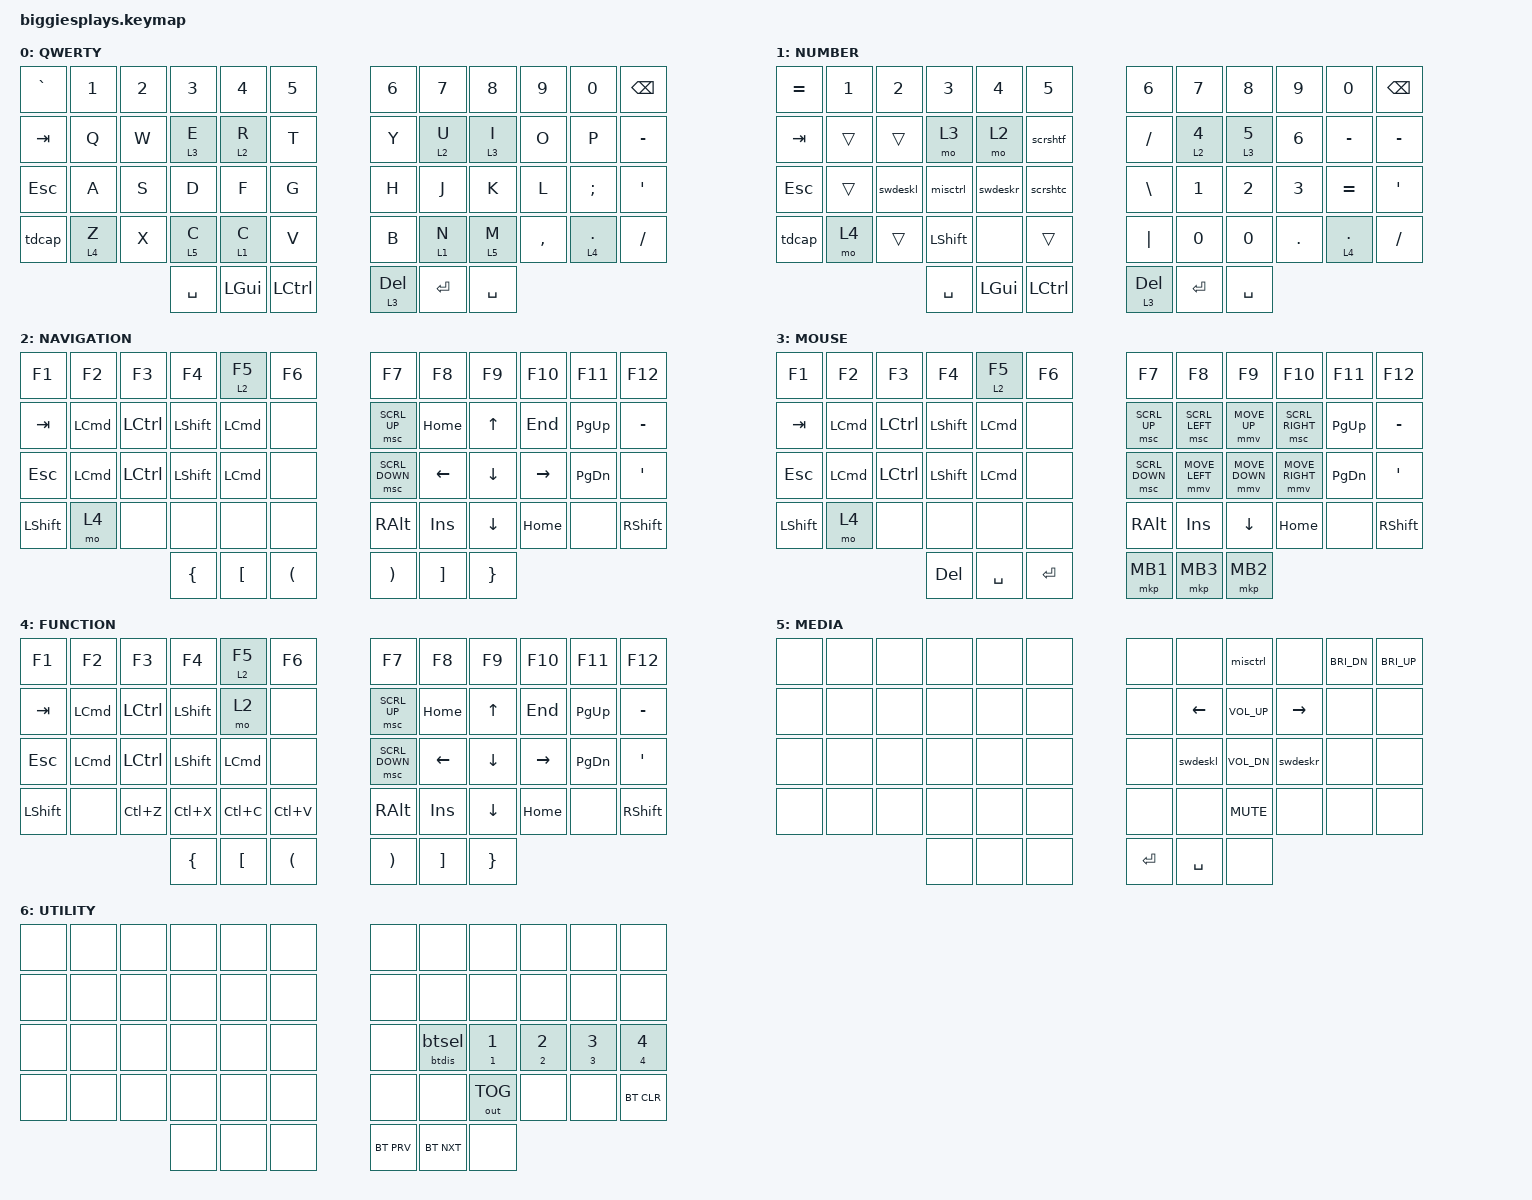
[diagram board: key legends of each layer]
// Copyright (c) 2022 The ZMK Contributors
// SPDX-License-Identifier: MIT

#define ZMK_POINTING_DEFAULT_MOVE_VAL 1000  // default: 600
#define ZMK_POINTING_DEFAULT_SCRL_VAL 10    // default: 10

#include <behaviors.dtsi>
#include <dt-bindings/zmk/keys.h>
#include <dt-bindings/zmk/bt.h>
#include <dt-bindings/zmk/outputs.h>
#include <dt-bindings/zmk/pointing.h>

/ {
    behaviors {
        ht: hold_tap {
            compatible = "zmk,behavior-hold-tap";
            #binding-cells = <2>;
            flavor = "tap-preferred";
            tapping-term-ms = <200>;
            quick-tap-ms = <120>;
            require-prior-idle-ms = <100>;
            bindings = <&kp>, <&kp>;
        };
        btht: bluetooth_hold_tap {
            compatible = "zmk,behavior-hold-tap";
            #binding-cells = <2>;
            flavor = "tap-preferred";
            tapping-term-ms = <2000>;
            require-prior-idle-ms = <100>;
            bindings = <&btdis>, <&btsel>;
        };
        tdcap: tdcap {
            compatible = "zmk,behavior-tap-dance";
            display-name = "TD Shift/CapsWord";
            #binding-cells = <0>;
            bindings = <&kp LEFT_SHIFT>, <&caps_word>;
        };
        tdshto0: tdshto0 {
            compatible = "zmk,behavior-tap-dance";
            display-name = "TD Shift/L0";
            #binding-cells = <0>;
            bindings = <&kp LEFT_SHIFT>, <&to 0>;
        };
        tdeqto0: tdeqto0 {
            compatible = "zmk,behavior-tap-dance";
            display-name = "TD =/L0";
            #binding-cells = <0>;
            bindings = <&kp EQUAL>, <&to 0>;
        };
    };
    macros {
        btsel: bluetooth_select {
            compatible = "zmk,behavior-macro-one-param";
            #binding-cells = <1>;
            bindings
                = <&macro_param_1to2>
                , <&macro_tap &bt BT_SEL MACRO_PLACEHOLDER>
                , <&macro_tap &out OUT_BLE>
                ;
        };
        btdis: bluetooth_disconnect {
            compatible = "zmk,behavior-macro-one-param";
            #binding-cells = <1>;
            bindings
                = <&macro_param_1to2>
                , <&macro_tap &bt BT_DISC MACRO_PLACEHOLDER>
                ;
        };
        swdeskl: swap_desktop_left {
            compatible = "zmk,behavior-macro";
            #binding-cells = <0>;
            bindings
                = <&macro_press &kp LCTRL>
                , <&macro_tap &kp LEFT>
                , <&macro_release &kp LCTRL>
                ;
        };
        swdeskr: swap_desktop_right {
            compatible = "zmk,behavior-macro";
            #binding-cells = <0>;
            bindings
                = <&macro_press &kp LCTRL>
                , <&macro_tap &kp RIGHT>
                , <&macro_release &kp LCTRL>
                ;
        };
        misctrl: mission_control {
            compatible = "zmk,behavior-macro";
            #binding-cells = <0>;
            bindings
                = <&macro_press &kp LCTRL>
                , <&macro_tap &kp UP>
                , <&macro_release &kp LCTRL>
                ;
        };
        scrshtc: screenshot_selection_clipboard {
            compatible = "zmk,behavior-macro";
            #binding-cells = <0>;
            bindings
                = <&macro_press &kp LCMD>
                , <&macro_press &kp LCTRL>
                , <&macro_press &kp LSHIFT>
                , <&macro_tap &kp N4>
                , <&macro_release &kp LCMD>
                , <&macro_release &kp LCTRL>
                , <&macro_release &kp LSHIFT>
                ;
        };
        scrshtf: screenshot_selection_save {
            compatible = "zmk,behavior-macro";
            #binding-cells = <0>;
            bindings
                = <&macro_press &kp LCMD>
                , <&macro_press &kp LCTRL>
                , <&macro_press &kp LSHIFT>
                , <&macro_tap &kp N4>
                , <&macro_release &kp LCMD>
                , <&macro_release &kp LCTRL>
                , <&macro_release &kp LSHIFT>
                ;
        };
    };
    combos {
        compatible = "zmk,combos";
        combo_scrshtc {
            timeout-ms = <40>;
            // Q+W
            key-positions = <13 14>;
            bindings = <&scrshtc>;
        };
        combo_scrshtf {
            timeout-ms = <40>;
            // Q+F
            key-positions = <13 15>;
            bindings = <&scrshtf>;
        };
        combo_numlock_on {
            timeout-ms = <40>;
            // U+O (4+6)
            key-positions = <7 9>;
            // From QWERTY/NAV/MOUSE layers
            layers = <0 2 3>;
            bindings = <&to 1>;
        };
        combo_numlock_off {
            timeout-ms = <40>;
            // U+O (4+6)
            key-positions = <7 9>;
            // Only on num_layer
            layers = <1>;
            bindings = <&to 0>;
        };
        combo_navlock_on {
            timeout-ms = <40>;
            // J+L (left and right arrows)
            key-positions = <31 33>;
            // From QWERTY/NUM/MOUSE layers
            layers = <0 1 3>;
            bindings = <&to 2>;
        };
        combo_navlock_off {
            timeout-ms = <40>;
            // J+L (left and right arrows)
            key-positions = <31 33>;
            // Only on nav_layer
            layers = <2>;
            bindings = <&to 0>;
        };
        combo_mouselock_on {
            timeout-ms = <40>;
            // N+Comma
            key-positions = <43 45>;
            // From QWERTY/NUM/NAV layers
            layers = <0 1 2>;
            bindings = <&to 3>;
        };
        combo_mouselock_off {
            timeout-ms = <40>;
            // N+Comma
            key-positions = <43 45>;
            // Only on mouse_layer
            layers = <3>;
            bindings = <&to 0>;
        };
    };

    conditional_layers {
        compatible = "zmk,conditional-layers";
        tri_layer {
            if-layers = <2 4>;
            then-layer = <6>;
        };
    };

    keymap {
        compatible = "zmk,keymap";

        default_layer {
            display-name = "QWERTY";
            bindings = <
        //╭──────────┬──────────┬──────────┬──────────┬──────────┬──────────╮     ╭──────────┬──────────┬──────────┬──────────┬──────────┬──────────╮  
        //│  ` ~     |  1 !     │  2 @     │  3 #     │  4 $     │  5 %     │     │  6 ^     │  7 &     │  8 *     │  9 (     │  0 )     │BACKSPACE |  
            &kp GRAVE  &kp N1     &kp N2     &kp N3     &kp N4     &kp N5            &kp N6    &kp N7     &kp N8     &kp N9      &kp N0    &kp BSPC    
        //├──────────┼──────────┼──────────┼──────────┼──────────┤──────────┤     ├──────────┼──────────┼──────────┼──────────┼──────────┤──────────┤  
        //│  TAB     |  Q       │  W       │E MOUSLAYR│R NAVLAYER│  T       │     │  Y       │U NAVLAYER│I MOUSLAYR│  O       │  P       │ - _      |  
            &kp TAB    &kp Q      &kp W      &lt 3 E    &lt 2 R    &kp T            &kp Y      &lt 2 U    &lt 3 I    &kp O      &kp P      &kp MINUS    
        //├──────────┼──────────┼──────────┼──────────┼──────────┤──────────┤     ├──────────┼──────────┼──────────┼──────────┼──────────┤──────────┤  
        //│  ESC     │  A       │  S       │  D       │  F       │  G       |     │  H       │  J       │  K       │  L       │  ; :     │  ' "     |            
            &kp ESC    &kp A      &kp S      &kp D      &kp F      &kp G            &kp H      &kp J      &kp K      &kp L      &kp SEMI   &kp SQT     
        //├──────────┼──────────┼──────────┼──────────┼──────────┤──────────┤     ├──────────┼──────────┼──────────┼──────────┼──────────┤──────────┤  
        //SHIFT CAPWD│Z FUNLAYER│  X       │  MEDIA   │C NUMLAYER│  V       |     B for Britt│N NUMLAYER│ M MEDIA  │  , <     │  . >     │  / ?     │  
            &tdcap     &lt 4 Z    &kp X      &lt 5 C    &lt 1 C    &kp V            &kp B      &lt 1 N    &lt 5 M    &kp COMMA  &lt 4 DOT  &kp FSLH    
        //├──────────┼──────────┼──────────┼──────────┼──────────┤──────────┤     ├──────────┼──────────┼──────────┼──────────┼──────────┤──────────┤  
        //                                 │  SPACE   │KELTICKNOT│  CTRL    |     │  DELETE  │  ENTER   │ SPACE    │                                   
                                            &kp SPACE   &kp LGUI  &kp LCTRL        &lt 3 DEL  &kp ENTER   &kp SPACE                                       
            >;
        };

        num_layer {
            display-name = "NUMBER";
            bindings = <
        //╭──────────┬──────────┬──────────┬──────────┬──────────┬──────────╮     ╭──────────┬──────────┬──────────┬──────────┬──────────┬──────────╮    
        //│  = +     |  1 !     │  2 @     │  3 #     │  4 $     │  5 %     │     │  6 ^     │  7 &     │  8 *     │  9 (     │  0 )     │BACKSPACE |  
           &kp EQUAL   &kp N1     &kp N2     &kp N3     &kp N4     &kp N5           &kp N6     &kp N7     &kp N8     &kp N9     &kp N0     &kp BSPC    
        //├──────────┼──────────┼──────────┼──────────┼──────────┤──────────┤     ├──────────┼──────────┼──────────┼──────────┼──────────┤──────────┤  
        //│  TAB     |          │          │MOUSELAYER│ NAVLAYER │SCREENFILE│     │  / ?     │  4 $ NAV │ 5 % MOUSE│  6 ^     │  - _     │ - _      |  
            &kp TAB    &trans     &trans      &mo 3     &mo 2      &scrshtf         &kp FSLH   &lt 2 N4   &lt 3 N5   &kp N6     &kp MINUS  &kp MINUS    
        //├──────────┼──────────┼──────────┼──────────┼──────────┤──────────┤     ├──────────┼──────────┼──────────┼──────────┼──────────┤──────────┤  
        //│  ESC     │          │DESKSWAP L│MISSIONCTL│DESKSWAP R│SCREENCOPY|     │  \ |     │  1 !     │  2 @     │  3 #     │  = +     │  ' "     |            
            &kp ESC    &trans    &swdeskl   &misctrl   &swdeskr   &scrshtc         &kp BSLH   &kp N1     &kp N2     &kp N3     &kp EQUAL  &kp SQT     
        //├──────────┼──────────┼──────────┼──────────┼──────────┤──────────┤     ├──────────┼──────────┼──────────┼──────────┼──────────┤──────────┤  
        //SHIFT/CAPWD│ FUNLAYER │          │  SHIFT   │ NUMLAYER │          |        |       │  0 )     │  0 )     │  . >     │ . > FUN  │  / ?     │  
            &tdcap     &mo 4      &trans     &kp LSHFT  &none      &trans           &kp PIPE   &kp N0     &kp N0     &kp DOT    &lt 4 DOT  &kp FSLH      
        //├──────────┼──────────┼──────────┼──────────┼──────────┤──────────┤     ├──────────┼──────────┼──────────┼──────────┼──────────┤──────────┤  
        //                                 │  SPACE   │KELTICKNOT│  CTRL    |     │  DELETE  │  ENTER   │ SPACE    │                                   
                                            &kp SPACE   &kp LGUI  &kp LCTRL        &lt 3 DEL  &kp ENTER   &kp SPACE                                    
            >;
        };

        nav_layer {
            display-name = "NAVIGATION";
            bindings = <
        //╭──────────┬──────────┬──────────┬──────────┬──────────┬──────────╮     ╭──────────┬──────────┬──────────┬──────────┬──────────┬──────────╮
        //│  F1      |  F2      │  F3      │  F4      │  F5      │  F6      │     │  F7      │  F8      │  F9      │  F10     │  F11     │  F12     |
            &kp F1     &kp F2     &kp F3     &kp F4     &lt 2 F5   &kp F6           &kp F7     &kp F8     &kp F9     &kp F10    &kp F11    &kp F12
        //├──────────┼──────────┼──────────┼──────────┼──────────┤──────────┤     ├──────────┼──────────┼──────────┼──────────┼──────────┤──────────┤
        //│          |KELTICKNOT│ CONTROL  │  SHIFT   │KELTICKNOT│          │     │SCROLL UP │  HOME    │  UP      │  END     │ PAGE UP  │  - _     |
            &kp TAB    &kp LCMD   &kp LCTRL  &kp LSHFT  &kp LCMD   &none          &msc SCRL_UP  &kp HOME   &kp UP    &kp END    &kp PG_UP  &kp MINUS
        //├──────────┼──────────┼──────────┼──────────┼──────────┤──────────┤     ├──────────┼──────────┼──────────┼──────────┼──────────┤──────────┤
        //│  ESC     │KELTICKNOT│ CONTROL  │  SHIFT   │KELTICKNOT│          |     │SCROLL DN │  LEFT    │  DOWN    │  RIGHT   │PAGE DOWN │  ' "     |
            &kp ESC    &kp LCMD   &kp LCTRL  &kp LSHFT  &kp LCMD   &none        &msc SCRL_DOWN  &kp LEFT   &kp DOWN  &kp RIGHT  &kp PG_DN  &kp SQT
        //├──────────┼──────────┼──────────┼──────────┼──────────┤──────────┤     ├──────────┼──────────┼──────────┼──────────┼──────────┤──────────┤
        //│  SHIFT   │ FUNLAYER │          │          │          │          |     │  ALT     │  INSERT  │  DOWN    │  HOME    │          │ SHIFT    |
           &kp LSHFT   &mo 4      &none      &none      &none      &none            &kp RALT   &kp INS    &kp DOWN   &kp HOME   &none      &kp RSHFT
        //├──────────┼──────────┼──────────┼──────────┼──────────┤──────────┤     ├──────────┼──────────┼──────────┼──────────┼──────────┤──────────┤
        //                                 │  {       │  [       │ (        |     │  )       │  ]       │  }       │ 
                                             &kp LBRC  &kp LBKT   &kp LPAR         &kp RPAR    &kp RBKT   &kp RBRC
            >;
        };

        mouse_layer {
            display-name = "MOUSE";
            bindings = <
        //╭──────────┬──────────┬──────────┬──────────┬──────────┬──────────╮     ╭──────────────┬──────────────┬──────────────┬──────────────┬──────────────┬──────────────╮
        //│  F1      |  F2      │  F3      │  F4      │  F5      │  F6      │     │  F7          │  F8          │  F9          │  F10         │  F11         │  F12         |
            &kp F1     &kp F2     &kp F3     &kp F4     &lt 2 F5   &kp F6           &kp F7         &kp F8         &kp F9         &kp F10         &kp F11        &kp F12
        //├──────────┼──────────┼──────────┼──────────┼──────────┤──────────┤     ├──────────────┬──────────────┬──────────────┬──────────────┬──────────────┬──────────────┤
        //│          |KELTICKNOT│ CONTROL  │  SHIFT   │KELTICKNOT│          │     │ SCROLL UP    │ SCROLL LEFT  │  MOUSE UP    │ SCROLL RIGHT │  PAGE UP     │  - _         |
            &kp TAB    &kp LCMD   &kp LCTRL  &kp LSHFT  &kp LCMD   &none            &msc SCRL_UP  &msc SCRL_LEFT  &mmv MOVE_UP  &msc SCRL_RIGHT  &kp PG_UP      &kp MINUS
        //├──────────┼──────────┼──────────┼──────────┼──────────┤──────────┤     ├──────────────┬──────────────┬──────────────┬──────────────┬──────────────┬──────────────┤
        //│  ESC     │KELTICKNOT│ CONTROL  │  SHIFT   │KELTICKNOT│          |     │SCROLL DN     │ MOUSE LEFT   │  MOUSE DOWN  │ MOUSE RIGHT  │  PAGE DOWN   │  ' "         |
            &kp ESC    &kp LCMD   &kp LCTRL  &kp LSHFT  &kp LCMD   &none           &msc SCRL_DOWN &mmv MOVE_LEFT &mmv MOVE_DOWN &mmv MOVE_RIGHT  &kp PG_DN      &kp SQT
        //├──────────┼──────────┼──────────┼──────────┼──────────┤──────────┤     ├──────────────┬──────────────┬──────────────┬──────────────┬──────────────┬──────────────┤
        //│  SHIFT   │ FUNLAYER │          │          │          │          |     │  ALT         │  INSERT      │  DOWN        │  HOME        │              │  SHIFT       |
           &kp LSHFT   &mo 4      &none      &none      &none      &none            &kp RALT      &kp INS         &kp DOWN       &kp HOME        &none          &kp RSHFT
        //├──────────┼──────────┼──────────┼──────────┼──────────┤──────────┤     ├──────────────┬──────────────┬──────────────┬──────────────┬──────────────┬──────────────┤
        //                                 │ DELETE   │  SPACE   │ ENTER    |     │  L-CLICK     │  M-CLICK     │  R-CLICK     │ 
                                             &kp DEL  &kp SPACE   &kp ENTER          &mkp MB1       &mkp MB3        &mkp MB2             
            >;
        };
        
        fun_layer {
            display-name = "FUNCTION";
            bindings = <        
        //╭──────────┬──────────┬──────────┬──────────┬──────────┬──────────╮     ╭──────────┬──────────┬──────────┬──────────┬──────────┬──────────╮
        //│  F1      |  F2      │  F3      │  F4      │  F5      │  F6      │     │  F7      │  F8      │  F9      │  F10     │  F11     │  F12     |
            &kp F1     &kp F2     &kp F3     &kp F4     &lt 2 F5   &kp F6           &kp F7     &kp F8     &kp F9     &kp F10    &kp F11    &kp F12
        //├──────────┼──────────┼──────────┼──────────┼──────────┤──────────┤     ├──────────┼──────────┼──────────┼──────────┼──────────┤──────────┤
        //│  TAB     |KELTICKNOT│ CONTROL  │  SHIFT   │ NAVLAYER │          │     │SCROLL UP │  HOME    │  UP      │  END     │ PAGE UP  │  - _     |
            &kp TAB    &kp LCMD   &kp LCTRL  &kp LSHFT  &mo 2      &none          &msc SCRL_UP &kp HOME   &kp UP     &kp END    &kp PG_UP  &kp MINUS
        //├──────────┼──────────┼──────────┼──────────┼──────────┤──────────┤     ├──────────┼──────────┼──────────┼──────────┼──────────┤──────────┤
        //│  ESC     │KELTICKNOT│ CONTROL  │  SHIFT   │KELTICKNOT│          |     │SCROLL DN │  LEFT    │  DOWN    │  RIGHT   │PAGE DOWN │  ' "     |
            &kp ESC    &kp LCMD   &kp LCTRL  &kp LSHFT  &kp LCMD   &none          &msc SCRL_DOWN &kp LEFT   &kp DOWN   &kp RIGHT  &kp PG_DN  &kp SQT
        //├──────────┼──────────┼──────────┼──────────┼──────────┤──────────┤     ├──────────┼──────────┼──────────┼──────────┼──────────┤──────────┤
        //│  SHIFT   │ FUNLAYER │          │          │          │          |     │  ALT     │  INSERT  │  DOWN    │  HOME    │ FUNLAYER │ SHIFT    |
           &kp LSHFT   &none     &kp LC(Z)  &kp LC(X)  &kp LC(C)   &kp LC(V)        &kp RALT   &kp INS    &kp DOWN   &kp HOME   &none      &kp RSHFT
        //├──────────┼──────────┼──────────┼──────────┼──────────┤──────────┤     ├──────────┼──────────┼──────────┼──────────┼──────────┤──────────┤
        //                                 │  {       │  [       │ (        |     │  )       │  ]       │  }       │ 
                                             &kp LBRC  &kp LBKT   &kp LPAR         &kp RPAR    &kp RBKT   &kp RBRC
            >;
        };

        media_layer {
            display-name = "MEDIA";
            bindings = <
        //╭──────────┬──────────┬──────────┬──────────┬──────────┬──────────╮     ╭──────────┬──────────────┬──────────────┬──────────────┬──────────────┬──────────────╮
        //│          │          │          │          │          │          │     │          │              │ MISSION CTRL │              │ BRIGHTNESS - │ BRIGHTNESS + |   
           &none        &none      &none       &none       &none     &none          &none      &none          &misctrl          &none       &kp C_BRI_DN   &kp C_BRI_UP
        //├──────────┼──────────┼──────────┼──────────┼──────────┼──────────┤     ├──────────┼──────────────┼──────────────┼──────────────┼──────────────┼──────────────┤
        //│          │          │          │          │          │          │     │          │ LEFT ARROW   │   VOLUME +   │ RIGHT ARROW  │              │               
           &none        &none      &none       &none       &none     &none          &none      &kp LEFT       &kp C_VOL_UP   &kp RIGHT          &none          &none
        //├──────────┼──────────┼──────────┼──────────┼──────────┼──────────┤     ├──────────┼──────────────┼──────────────┼──────────────┼──────────────┼──────────────┤
        //│          │          │          │          │          │          │                │SCREEN SWAP L │   VOLUME -   │SCREEN SWAP R │              │              │
           &none        &none      &none       &none       &none     &none          &none      &swdeskl       &kp C_VOL_DN     &swdeskr      &none         &none 
        //├──────────┼──────────┼──────────┼──────────┼──────────┼──────────┤     ├──────────┼──────────────┼──────────────┼──────────────┼──────────────┼──────────────┤
        //│          │          │          │          │          │          │                │              │ MUTE         │              │              │              │
           &none        &none      &none       &none       &none     &none          &none      &none          &kp C_MUTE   &none          &none            &none
        //╰──────────┴──────────┴──────────┴──────────┼──────────┼──────────┤     ├──────────┼──────────────┼──────────────┼──────────────┴──────────────┴──────────────╯
                                               &none       &none     &none         &kp ENTER   &kp SPACE      &none
        //                                 ╰──────────┴──────────┴──────────╯     ╰──────────┴──────────────┴──────────────╯
            >;
        };

        util_layer {
            display-name = "UTILITY";
            bindings = <
        //╭──────────┬──────────┬──────────┬──────────┬──────────┬──────────╮     ╭──────────┬──────────────┬──────────────┬──────────────┬──────────────┬──────────────╮
        //│          │          │          │          │          │          │     │          │              │              │              │              │              |   
           &none        &none      &none       &none       &none     &none          &none      &none          &none          &none          &none          &none
        //├──────────┼──────────┼──────────┼──────────┼──────────┼──────────┤     ├──────────┼──────────────┼──────────────┼──────────────┼──────────────┼──────────────┤
        //│          │          │          │          │          │          │     │          │              │              │              │              │               
           &none        &none      &none       &none       &none     &none          &none      &none          &none          &none          &none          &none
        //├──────────┼──────────┼──────────┼──────────┼──────────┼──────────┤     ├──────────┼──────────────┼──────────────┼──────────────┼──────────────┼──────────────┤
        //│          │          │          │          │          │          │                │ Britt Work   │ Hunter Work  │              │ Tiny Lappy   │              │
           &none        &none      &none       &none       &none     &none          &none      &btht 0 0      &btht 1 1      &btht 2 2      &btht 3 3      &btht 4 4
        //├──────────┼──────────┼──────────┼──────────┼──────────┼──────────┤     ├──────────┼──────────────┼──────────────┼──────────────┼──────────────┼──────────────┤
        //│          │          │          │          │          │          │                │              │ USB/BLE      │              │              │Clear Profile │
           &none        &none      &none       &none       &none     &none          &none      &none          &out OUT_TOG   &none          &none          &bt BT_CLR
        //╰──────────┴──────────┴──────────┴──────────┼──────────┼──────────┤     ├──────────┼──────────────┼──────────────┼──────────────┴──────────────┴──────────────╯
                                               &none       &none     &none         &bt BT_PRV  &bt BT_NXT     &none
        //                                 ╰──────────┴──────────┴──────────╯     ╰──────────┴──────────────┴──────────────╯
            >;
        };
    };
};
